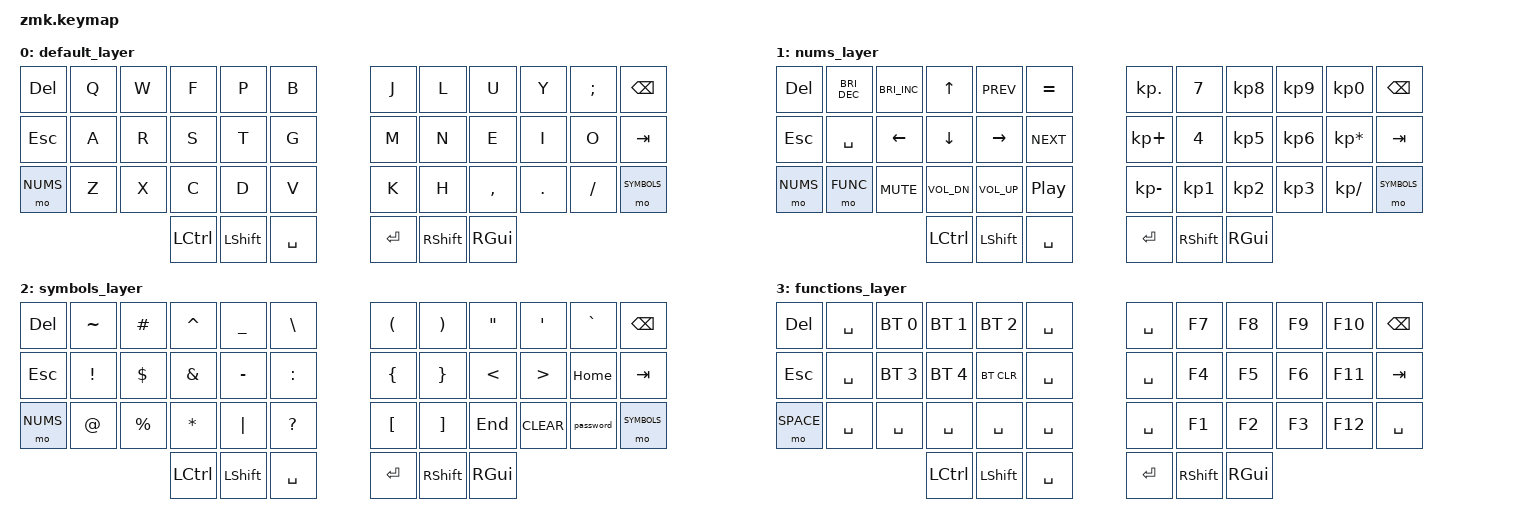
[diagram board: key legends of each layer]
/*
 * Copyright (c) 2020 The ZMK Contributors
 *
 * SPDX-License-Identifier: MIT
 */

#include <behaviors.dtsi>
#include <dt-bindings/zmk/keys.h>
#include <dt-bindings/zmk/bt.h>

#define DEF 0
#define NUMS 1
#define SYMBOLS 2
#define FUNC 3

/ {
        macros {
                password: password {
                        label = "password";
                        compatible = "zmk,behavior-macro";
                        #binding-cells = <0>;
                        wait-ms = <40>;
                        tap-ms = <40>;
                        bindings
                                = <&macro_tap &kp EXCL>
                                , <&macro_tap &kp EXCL>
                                ;
                };
        };
};

/ {
        keymap {
                compatible = "zmk,keymap";

                default_layer {
// -----------------------------------------------------------------------------------------
// |  DEL  |  Q  |  W  |  F  |   P   |  B  |   |  J  |   L   |  U  |  Y  |  ;  |   BKSP  |
// |  ESC  |  A  |  R  |  S  |   T   |  G  |   |  M  |   N   |  E  |  I  |  O  |   TAB   |
// |  NUMS |  Z  |  X  |  C  |   D   |  V  |   |  K  |   H   |  ,  |  .  |  /  | SYMBOLS |
//                    | CTRL |  SHFT | SPC |   | ENT |  SHFT | SUP |
                        bindings = <
   &kp DEL  &kp Q &kp W &kp F &kp P &kp B   &kp J &kp L  &kp U     &kp Y   &kp SEMI    &kp BSPC
   &kp ESC  &kp A &kp R &kp S &kp T &kp G   &kp M &kp N  &kp E     &kp I   &kp O       &kp TAB
   &mo NUMS &kp Z &kp X &kp C &kp D &kp V   &kp K &kp H  &kp COMMA &kp DOT &kp FSLH   &mo SYMBOLS
                  &kp LCTRL &kp LSHFT &kp SPACE   &kp RET &kp RSHFT &kp RGUI
                        >;
                };
                nums_layer {
// -----------------------------------------------------------------------------------------
// |  DEL  |  BRIGHT_DOWN  | BRIGHT_UP |    UP    |  PREV  |     =      |   | . | 7 | 8 | 9 | 0 |   BKSP  |
// |  ESC  | SPACE (Empty) |    LEFT   |   DOWN   |  RIGHT |  FORWARD   |   | + | 4 | 5 | 6 | * |   TAB   |
// |  NUMS |       FN      |    MUTE   | VOL_DOWN | VOL_UP | PLAY/PAUSE |   | - | 1 | 2 | 3 | / | SYMBOLS |
//                                                 | CTRL |  SHFT | SPC |   | ENT |  SHFT | SUP |
                        bindings = <
   &kp DEL  &kp C_BRI_DEC &kp C_BRI_INC &kp UP       &kp C_PREV   &kp EQUAL     &kp KP_DOT   &kp N7 &kp KP_N8 &kp KP_N9 &kp KP_N0       &kp BSPC
   &kp ESC  &kp SPACE     &kp LEFT      &kp DOWN     &kp RIGHT    &kp C_NEXT    &kp KP_PLUS  &kp N4 &kp KP_N5 &kp KP_N6 &kp KP_MULTIPLY &kp TAB
   &mo NUMS &mo FUNC     &kp C_MUTE    &kp C_VOL_DN &kp C_VOL_UP &kp C_PP      &kp KP_MINUS &kp KP_N1 &kp KP_N2 &kp KP_N3 &kp KP_SLASH    &mo SYMBOLS
                  &kp LCTRL &kp LSHFT &kp SPACE   &kp RET &kp RSHFT &kp RGUI
                        >;
                };
                symbols_layer {
// -----------------------------------------------------------------------------------------
// |  DEL  | ~ | # | ^ | _ | \ |   | ( | ) |  "  |   '   |   `   |   BKSP  |
// |  ESC  | ! | $ | & | - | : |   | { | } |  <  |   >   |  HOME |   TAB   |
// |  NUMS | @ | % | * | | | ? |   | [ | ] | END | CLEAR | MACRO | SYMBOLS |
//        | CTRL |  SHFT | SPC |   | ENT |  SHFT | SUP |
                        bindings = <
   &kp DEL  &kp TILDE &kp HASH  &kp CARET &kp UNDER &kp BSLH     &kp LPAR &kp RPAR &kp DQT &kp SQT   &kp GRAVE &kp BSPC
   &kp ESC  &kp EXCL  &kp DLLR  &kp AMPS  &kp MINUS &kp COLON    &kp LBRC &kp RBRC &kp LT  &kp GT    &kp HOME  &kp TAB
   &mo NUMS &kp AT    &kp PRCNT &kp STAR  &kp PIPE  &kp QMARK    &kp LBKT &kp RBKT &kp END &kp CLEAR &password &mo SYMBOLS
                  &kp LCTRL &kp LSHFT &kp SPACE   &kp RET &kp RSHFT &kp RGUI
                        >;
                };
                functions_layer {
// -----------------------------------------------------------------------------------------
// |  DEL  |  |  |  |  |  |   |  | F7 | F8 | F9 | F10 |   BKSP  |
// |  ESC  |  |  |  |  |  |   |  | F4 | F5 | F6 | F11 |   TAB   |
// |       |  |  |  |  |  |   |  | F1 | F2 | F3 | F12 |         |
//    | CTRL | SHFT | SPC |   | ENT |  SHFT | SUP |
                        bindings = <
   &kp DEL   &kp SPACE &bt BT_SEL 0 &bt BT_SEL 1 &bt BT_SEL 2 &kp SPACE    &kp SPACE &kp F7 &kp F8 &kp F9 &kp F10 &kp BSPC
   &kp ESC   &kp SPACE &bt BT_SEL 3 &bt BT_SEL 4 &bt BT_CLR   &kp SPACE    &kp SPACE &kp F4 &kp F5 &kp F6 &kp F11 &kp TAB
   &mo SPACE &kp SPACE &kp SPACE    &kp SPACE    &kp SPACE    &kp SPACE    &kp SPACE &kp F1 &kp F2 &kp F3 &kp F12 &kp SPACE
                  &kp LCTRL &kp LSHFT &kp SPACE   &kp RET &kp RSHFT &kp RGUI
                        >;
                };
        };
};
